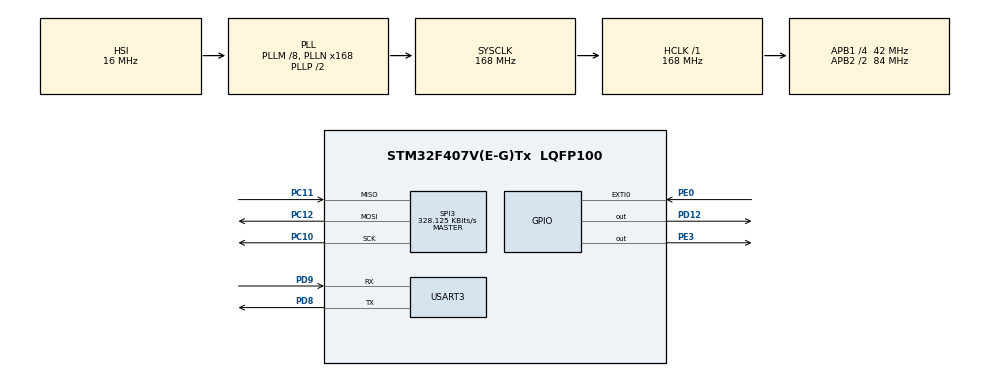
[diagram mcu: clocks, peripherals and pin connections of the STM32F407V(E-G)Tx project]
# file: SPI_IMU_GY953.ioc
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Mcu.Family=STM32F4
Mcu.Name=STM32F407V(E-G)Tx
Mcu.Package=LQFP100
NVIC.EXTI0_IRQn=true\:0\:0\:false\:false\:true\:true\:true\:true
NVIC.PriorityGroup=NVIC_PRIORITYGROUP_4
PC10.Mode=Full_Duplex_Master
PC10.Signal=SPI3_SCK
PC11.Mode=Full_Duplex_Master
PC11.Signal=SPI3_MISO
PC12.Mode=Full_Duplex_Master
PC12.Signal=SPI3_MOSI
PD12.Signal=GPIO_Output
PD8.Mode=Asynchronous
PD8.Signal=USART3_TX
PD9.Mode=Asynchronous
PD9.Signal=USART3_RX
PE0.Signal=GPXTI0
PE3.PinState=GPIO_PIN_SET
PE3.Signal=GPIO_Output
PH0-OSC_IN.Mode=HSE-External-Oscillator
PH0-OSC_IN.Signal=RCC_OSC_IN
PH1-OSC_OUT.Mode=HSE-External-Oscillator
PH1-OSC_OUT.Signal=RCC_OSC_OUT
ProjectManager.HeapSize=0x200
ProjectManager.StackSize=0x400
ProjectManager.TargetToolchain=MDK-ARM V5
RCC.48MHZClocksFreq_Value=84000000
RCC.AHBFreq_Value=168000000
RCC.APB1CLKDivider=RCC_HCLK_DIV4
RCC.APB1Freq_Value=42000000
RCC.APB1TimFreq_Value=84000000
RCC.APB2CLKDivider=RCC_HCLK_DIV2
RCC.APB2Freq_Value=84000000
RCC.APB2TimFreq_Value=168000000
RCC.CortexFreq_Value=168000000
RCC.HCLKFreq_Value=168000000
RCC.HSE_VALUE=8000000
RCC.HSI_VALUE=16000000
RCC.LSE_VALUE=32768
RCC.PLLM=8
RCC.PLLN=168
RCC.SYSCLKFreq_VALUE=168000000
RCC.SYSCLKSource=RCC_SYSCLKSOURCE_PLLCLK
RCC.VCOOutputFreq_Value=336000000
SPI3.BaudRatePrescaler=SPI_BAUDRATEPRESCALER_128
SPI3.CLKPhase=SPI_PHASE_2EDGE
SPI3.CLKPolarity=SPI_POLARITY_HIGH
SPI3.CalculateBaudRate=328.125 KBits/s
SPI3.Direction=SPI_DIRECTION_2LINES
SPI3.Mode=SPI_MODE_MASTER
SPI3.VirtualType=VM_MASTER
USART3.VirtualMode=VM_ASYNC
board=custom

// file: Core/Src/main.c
/* USER CODE BEGIN Header */
/**
  ******************************************************************************
  * @file           : main.c
  * @brief          : Main program body
  ******************************************************************************
  * @attention
  *
  * Copyright (c) 2022 STMicroelectronics.
  * All rights reserved.
  *
  * This software is licensed under terms that can be found in the LICENSE file
  * in the root directory of this software component.
  * If no LICENSE file comes with this software, it is provided AS-IS.
  *
  ******************************************************************************
  */
/* USER CODE END Header */
#include "main.h"

/* USER CODE BEGIN Includes */
#include "IMU_GY953.h"
#include <string.h>
#include "stdlib.h"
#include "stdio.h"
#include "stdarg.h"
/* USER CODE END Includes */

 SPI_HandleTypeDef hspi3;

UART_HandleTypeDef huart3;

/* USER CODE BEGIN PV */
IMU_Struct IMU1 = {
	.CS_GPIO = GPIOE,
	.CS_PIN = GPIO_PIN_3
};
/* USER CODE END PV */

void SystemClock_Config(void);
static void MX_GPIO_Init(void);
static void MX_SPI3_Init(void);
static void MX_USART3_UART_Init(void);
/* USER CODE BEGIN PFP */
void printData(char* format, ...){

  char* str = malloc( 64 * sizeof(char) );
  va_list ap;
  va_start(ap, format);
  vsprintf(str, format, ap);
  HAL_UART_Transmit(&huart3, (uint8_t *)str, strlen(str), 100);
  va_end(ap);

  free(str);
}
/* USER CODE END PFP */

int main(void)
{

  /* MCU Configuration--------------------------------------------------------*/

  /* Reset of all peripherals, Initializes the Flash interface and the Systick. */
  HAL_Init();

  /* Configure the system clock */
  SystemClock_Config();

  /* Initialize all configured peripherals */
  MX_GPIO_Init();
  MX_SPI3_Init();
  MX_USART3_UART_Init();
  /* USER CODE BEGIN 2 */

	IMU_Init_Handle(&hspi3);
	IMU_Init_SET(&IMU1, 200, 1, 1, 1);

  /* USER CODE END 2 */

  /* Infinite loop */
  /* USER CODE BEGIN WHILE */
  while (1)
  {
      IMU_ContinuousReadData(&IMU1);
			printData("%d %.2f %.2f %.2f\n", HAL_GetTick(), IMU1.ROLL, IMU1.PITCH, IMU1.YAW);
      // // HAL_Delay(50);
    /* USER CODE END WHILE */

  }
}

void SystemClock_Config(void)
{
  RCC_OscInitTypeDef RCC_OscInitStruct = {0};
  RCC_ClkInitTypeDef RCC_ClkInitStruct = {0};

  /** Configure the main internal regulator output voltage
  */
  __HAL_RCC_PWR_CLK_ENABLE();
  __HAL_PWR_VOLTAGESCALING_CONFIG(PWR_REGULATOR_VOLTAGE_SCALE1);

  /** Initializes the RCC Oscillators according to the specified parameters
  * in the RCC_OscInitTypeDef structure.
  */
  RCC_OscInitStruct.OscillatorType = RCC_OSCILLATORTYPE_HSI;
  RCC_OscInitStruct.HSIState = RCC_HSI_ON;
  RCC_OscInitStruct.HSICalibrationValue = RCC_HSICALIBRATION_DEFAULT;
  RCC_OscInitStruct.PLL.PLLState = RCC_PLL_ON;
  RCC_OscInitStruct.PLL.PLLSource = RCC_PLLSOURCE_HSI;
  RCC_OscInitStruct.PLL.PLLM = 8;
  RCC_OscInitStruct.PLL.PLLN = 168;
  RCC_OscInitStruct.PLL.PLLP = RCC_PLLP_DIV2;
  RCC_OscInitStruct.PLL.PLLQ = 4;
  if (HAL_RCC_OscConfig(&RCC_OscInitStruct) != HAL_OK)
  {
    Error_Handler();
  }

  /** Initializes the CPU, AHB and APB buses clocks
  */
  RCC_ClkInitStruct.ClockType = RCC_CLOCKTYPE_HCLK|RCC_CLOCKTYPE_SYSCLK
                              |RCC_CLOCKTYPE_PCLK1|RCC_CLOCKTYPE_PCLK2;
  RCC_ClkInitStruct.SYSCLKSource = RCC_SYSCLKSOURCE_PLLCLK;
  RCC_ClkInitStruct.AHBCLKDivider = RCC_SYSCLK_DIV1;
  RCC_ClkInitStruct.APB1CLKDivider = RCC_HCLK_DIV4;
  RCC_ClkInitStruct.APB2CLKDivider = RCC_HCLK_DIV2;

  if (HAL_RCC_ClockConfig(&RCC_ClkInitStruct, FLASH_LATENCY_5) != HAL_OK)
  {
    Error_Handler();
  }
}

static void MX_SPI3_Init(void)
{

  /* SPI3 parameter configuration*/
  hspi3.Instance = SPI3;
  hspi3.Init.Mode = SPI_MODE_MASTER;
  hspi3.Init.Direction = SPI_DIRECTION_2LINES;
  hspi3.Init.DataSize = SPI_DATASIZE_8BIT;
  hspi3.Init.CLKPolarity = SPI_POLARITY_HIGH;
  hspi3.Init.CLKPhase = SPI_PHASE_2EDGE;
  hspi3.Init.NSS = SPI_NSS_SOFT;
  hspi3.Init.BaudRatePrescaler = SPI_BAUDRATEPRESCALER_128;
  hspi3.Init.FirstBit = SPI_FIRSTBIT_MSB;
  hspi3.Init.TIMode = SPI_TIMODE_DISABLE;
  hspi3.Init.CRCCalculation = SPI_CRCCALCULATION_DISABLE;
  hspi3.Init.CRCPolynomial = 10;
  if (HAL_SPI_Init(&hspi3) != HAL_OK)
  {
    Error_Handler();
  }

}

static void MX_USART3_UART_Init(void)
{

  huart3.Instance = USART3;
  huart3.Init.BaudRate = 115200;
  huart3.Init.WordLength = UART_WORDLENGTH_8B;
  huart3.Init.StopBits = UART_STOPBITS_1;
  huart3.Init.Parity = UART_PARITY_NONE;
  huart3.Init.Mode = UART_MODE_TX_RX;
  huart3.Init.HwFlowCtl = UART_HWCONTROL_NONE;
  huart3.Init.OverSampling = UART_OVERSAMPLING_16;
  if (HAL_UART_Init(&huart3) != HAL_OK)
  {
    Error_Handler();
  }

}

static void MX_GPIO_Init(void)
{
  GPIO_InitTypeDef GPIO_InitStruct = {0};

  /* GPIO Ports Clock Enable */
  __HAL_RCC_GPIOE_CLK_ENABLE();
  __HAL_RCC_GPIOH_CLK_ENABLE();
  __HAL_RCC_GPIOD_CLK_ENABLE();
  __HAL_RCC_GPIOC_CLK_ENABLE();

  /*Configure GPIO pin Output Level */
  HAL_GPIO_WritePin(GPIOE, GPIO_PIN_3, GPIO_PIN_SET);

  /*Configure GPIO pin Output Level */
  HAL_GPIO_WritePin(GPIOD, GPIO_PIN_12, GPIO_PIN_RESET);

  /*Configure GPIO pin : PE3 */
  GPIO_InitStruct.Pin = GPIO_PIN_3;
  GPIO_InitStruct.Mode = GPIO_MODE_OUTPUT_PP;
  GPIO_InitStruct.Pull = GPIO_NOPULL;
  GPIO_InitStruct.Speed = GPIO_SPEED_FREQ_LOW;
  HAL_GPIO_Init(GPIOE, &GPIO_InitStruct);

  /*Configure GPIO pin : PD12 */
  GPIO_InitStruct.Pin = GPIO_PIN_12;
  GPIO_InitStruct.Mode = GPIO_MODE_OUTPUT_PP;
  GPIO_InitStruct.Pull = GPIO_NOPULL;
  GPIO_InitStruct.Speed = GPIO_SPEED_FREQ_LOW;
  HAL_GPIO_Init(GPIOD, &GPIO_InitStruct);

  /*Configure GPIO pin : PE0 */
  GPIO_InitStruct.Pin = GPIO_PIN_0;
  GPIO_InitStruct.Mode = GPIO_MODE_IT_RISING;
  GPIO_InitStruct.Pull = GPIO_NOPULL;
  HAL_GPIO_Init(GPIOE, &GPIO_InitStruct);

  /* EXTI interrupt init*/
  HAL_NVIC_SetPriority(EXTI0_IRQn, 0, 0);
  HAL_NVIC_EnableIRQ(EXTI0_IRQn);

}

/* USER CODE BEGIN 4 */
void HAL_GPIO_EXTI_Callback(uint16_t GPIO_Pin)
{
  /* Prevent unused argument(s) compilation warning */
  UNUSED(GPIO_Pin);
  /* NOTE: This function Should not be modified, when the callback is needed,
           the HAL_GPIO_EXTI_Callback could be implemented in the user file
   */
		// 讀取 GY953 數據在中斷觸發時讀取 IMU 資訊
    // printData("INT %d\n", HAL_GetTick());
		// if(!Flag){
		// 	IMU_ContinuousReadData(&IMU1);
		// 	Flag=1;
		// 	HAL_GPIO_TogglePin(GPIOD, GPIO_PIN_12);
		// }
    IMU_ResetFlag(&IMU1);
}
/* USER CODE END 4 */

void Error_Handler(void)
{
  __disable_irq();
  while (1)
  {
  }
}
